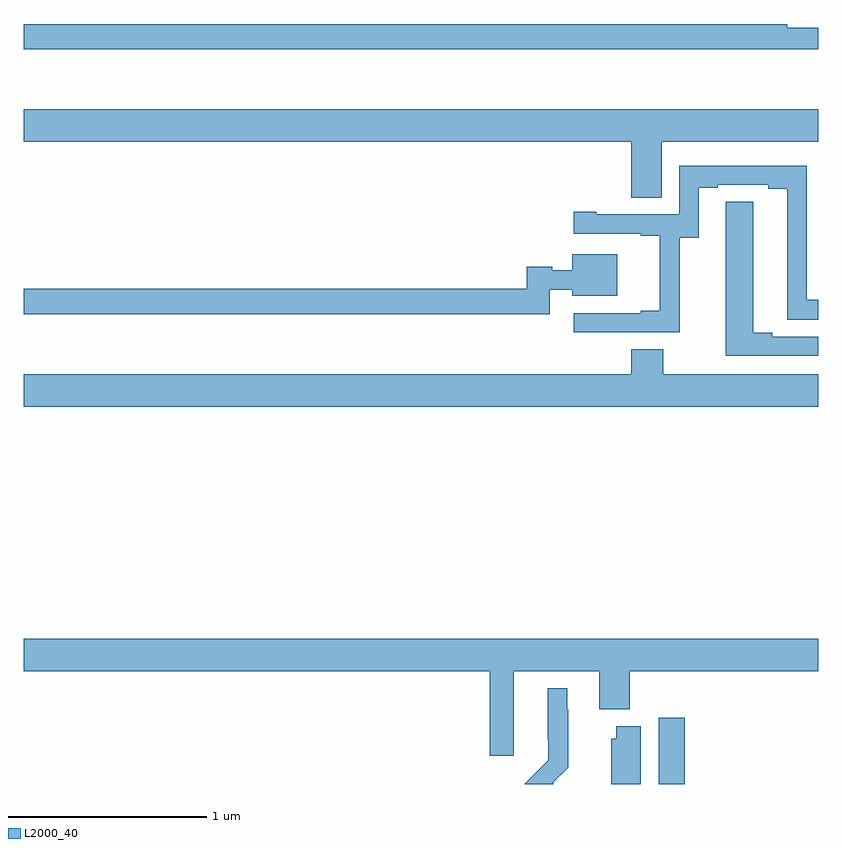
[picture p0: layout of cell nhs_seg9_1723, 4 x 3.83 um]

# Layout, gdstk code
import gdstk
lib = gdstk.Library(unit=1e-6, precision=1e-09)
def R(c, l, rs):  # rectangles x0, y0, x1, y1
    for r in rs: c.add(gdstk.rectangle(r[:2], r[2:], *l))
def P(c, l, *ps):  # polygons
    for p in ps: c.add(gdstk.Polygon(p, *l))
L2000_40 = (2000, 40)

nhs_seg9_1723 = lib.new_cell('nhs_seg9_1723')
R(nhs_seg9_1723, L2000_40, [(210.197,1214.5,210.329,1214.833)])
P(nhs_seg9_1723, L2000_40, [(211,1218.308),(210.843,1218.308),(210.843,1218.326),(207,1218.326),(207,1218.198),(211,1218.198)],
  [(210.211,1217.732),(211,1217.732),(211,1217.896),(207,1217.896),(207,1217.732),(210.059,1217.732),(210.059,1217.452),(210.211,1217.452)],
  [(210.303,1217.251),(210.397,1217.251),(210.397,1217.502),(210.493,1217.502),(210.493,1217.517),(210.749,1217.517),(210.749,1217.497),(210.845,1217.497),(210.845,1216.837),(211,1216.837),(211,1216.938),(210.942,1216.938),(210.942,1217.613),(210.3,1217.613),(210.3,1217.367),(209.881,1217.367),(209.881,1217.38),(209.769,1217.38),(209.769,1217.271),(210.107,1217.271),(210.107,1217.259),(210.203,1217.259),(210.203,1216.882),(210.107,1216.882),(210.107,1216.869),(209.769,1216.869),(209.769,1216.773),(210.303,1216.773)],
  [(211,1216.752),(210.769,1216.752),(210.769,1216.772),(210.673,1216.772),(210.673,1217.432),(210.534,1217.432),(210.534,1217.324),(210.533,1217.324),(210.533,1216.656),(211,1216.656)],
  [(209.649,1216.989),(209.762,1216.989),(209.762,1216.958),(209.989,1216.958),(209.989,1217.167),(209.762,1217.167),(209.762,1217.087),(209.661,1217.087),(209.661,1217.105),(209.533,1217.105),(209.533,1216.994),(207,1216.994),(207,1216.866),(209.649,1216.866)],
  [(211,1216.564),(210.219,1216.564),(210.219,1216.688),(210.059,1216.688),(210.059,1216.564),(207,1216.564),(207,1216.4),(211,1216.4)],
  [(207,1215.068),(209.345,1215.068),(209.345,1214.643),(209.467,1214.643),(209.467,1215.068),(209.897,1215.068),(209.897,1214.876),(210.05,1214.876),(210.05,1215.068),(211,1215.068),(211,1215.232),(207,1215.232)],
  [(209.667,1214.508),(209.741,1214.582),(209.741,1214.873),(209.737,1214.873),(209.737,1214.983),(209.639,1214.983),(209.639,1214.722),(209.64,1214.722),(209.64,1214.62),(209.522,1214.502),(209.522,1214.5),(209.667,1214.5)],
  [(210.106,1214.791),(209.984,1214.791),(209.984,1214.727),(209.957,1214.727),(209.957,1214.5),(210.106,1214.5)])

lib.write_gds('nhs_seg9_1723.gds')
